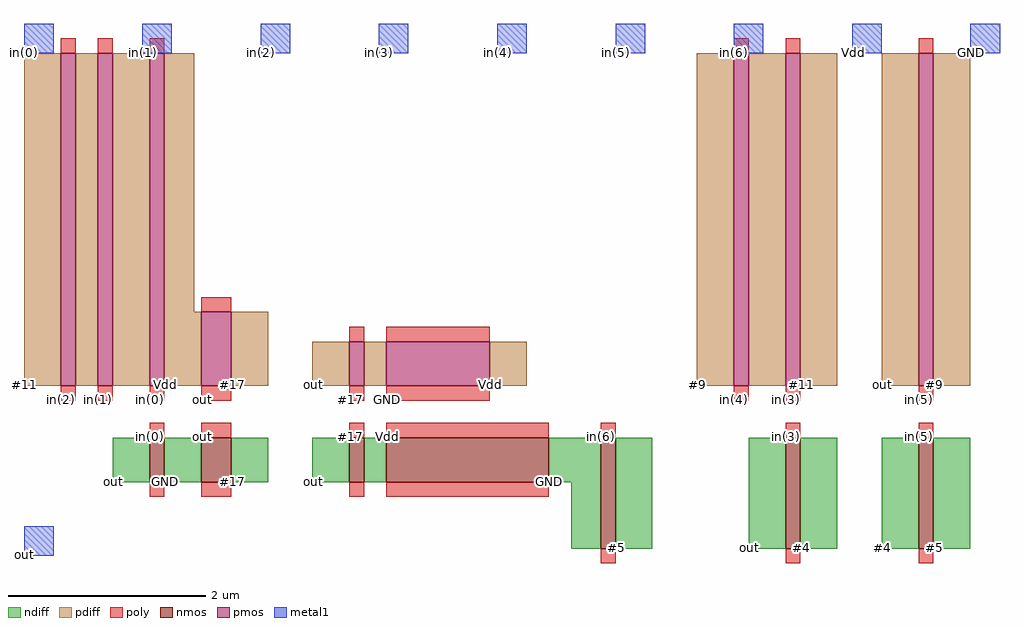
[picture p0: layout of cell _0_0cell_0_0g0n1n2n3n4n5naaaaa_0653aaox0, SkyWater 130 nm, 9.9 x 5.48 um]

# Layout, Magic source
magic
tech sky130A
magscale 1 2
<< nmos >>
rect 375 210 405 300
rect 480 210 540 300
rect 780 210 810 300
rect 855 210 1185 300
rect 1290 75 1320 300
rect 1665 75 1695 300
rect 1935 75 1965 300
<< pmos >>
rect 195 405 225 1080
rect 270 405 300 1080
rect 375 405 405 1080
rect 480 405 540 555
rect 780 405 810 495
rect 855 405 1065 495
rect 1560 405 1590 1080
rect 1665 405 1695 1080
rect 1935 405 1965 1080
<< ndiff >>
rect 300 210 375 300
rect 405 210 480 300
rect 540 210 615 300
rect 705 210 780 300
rect 810 210 855 300
rect 1185 210 1290 300
rect 1230 75 1290 210
rect 1320 75 1395 300
rect 1590 75 1665 300
rect 1695 75 1770 300
rect 1860 75 1935 300
rect 1965 75 2040 300
<< pdiff >>
rect 120 405 195 1080
rect 225 405 270 1080
rect 300 405 375 1080
rect 405 555 465 1080
rect 405 405 480 555
rect 540 405 615 555
rect 705 405 780 495
rect 810 405 855 495
rect 1065 405 1140 495
rect 1485 405 1560 1080
rect 1590 405 1665 1080
rect 1695 405 1770 1080
rect 1860 405 1935 1080
rect 1965 405 2040 1080
<< poly >>
rect 195 1080 225 1110
rect 270 1080 300 1110
rect 375 1080 405 1110
rect 1560 1080 1590 1110
rect 1665 1080 1695 1110
rect 1935 1080 1965 1110
rect 480 555 540 585
rect 780 495 810 525
rect 855 495 1065 525
rect 195 375 225 405
rect 270 375 300 405
rect 375 375 405 405
rect 480 375 540 405
rect 780 375 810 405
rect 855 375 1065 405
rect 1560 375 1590 405
rect 1665 375 1695 405
rect 1935 375 1965 405
rect 375 300 405 330
rect 480 300 540 330
rect 780 300 810 330
rect 855 300 1185 330
rect 1290 300 1320 330
rect 1665 300 1695 330
rect 1935 300 1965 330
rect 375 180 405 210
rect 480 180 540 210
rect 780 180 810 210
rect 855 180 1185 210
rect 1290 45 1320 75
rect 1665 45 1695 75
rect 1935 45 1965 75
<< metal1 >>
rect 120 1080 180 1140
rect 360 1080 420 1140
rect 600 1080 660 1140
rect 840 1080 900 1140
rect 1080 1080 1140 1140
rect 1320 1080 1380 1140
rect 1560 1080 1620 1140
rect 1800 1080 1860 1140
rect 2040 1080 2100 1140
rect 120 60 180 120
<< labels >>
rlabel pdiff 542 407 542 407 3 #17
rlabel poly 482 377 482 377 3 out
rlabel ndiff 542 212 542 212 3 #17
rlabel pdiff 407 407 407 407 3 Vdd
rlabel poly 482 302 482 302 3 out
rlabel poly 377 377 377 377 3 in(0)
rlabel ndiff 407 212 407 212 3 GND
rlabel poly 377 302 377 302 3 in(0)
rlabel poly 272 377 272 377 3 in(1)
rlabel ndiff 302 212 302 212 3 out
rlabel poly 197 377 197 377 3 in(2)
rlabel pdiff 122 407 122 407 3 #11
rlabel poly 1292 302 1292 302 3 in(6)
rlabel ndiff 1322 77 1322 77 3 #5
rlabel ndiff 1187 212 1187 212 3 GND
rlabel pdiff 1067 407 1067 407 3 Vdd
rlabel poly 857 302 857 302 3 Vdd
rlabel poly 857 377 857 377 3 GND
rlabel poly 782 302 782 302 3 #17
rlabel poly 782 377 782 377 3 #17
rlabel ndiff 707 212 707 212 3 out
rlabel pdiff 707 407 707 407 3 out
rlabel ndiff 1697 77 1697 77 3 #4
rlabel pdiff 1697 407 1697 407 3 #11
rlabel poly 1667 302 1667 302 3 in(3)
rlabel poly 1667 377 1667 377 3 in(3)
rlabel ndiff 1592 77 1592 77 3 out
rlabel poly 1562 377 1562 377 3 in(4)
rlabel pdiff 1487 407 1487 407 3 #9
rlabel ndiff 1967 77 1967 77 3 #5
rlabel pdiff 1967 407 1967 407 3 #9
rlabel poly 1937 302 1937 302 3 in(5)
rlabel poly 1937 377 1937 377 3 in(5)
rlabel ndiff 1862 77 1862 77 3 #4
rlabel pdiff 1862 407 1862 407 3 out
rlabel metal1 2042 1082 2042 1082 3 GND
port 1 e
rlabel metal1 1802 1082 1802 1082 3 Vdd
port 2 e
rlabel metal1 1562 1082 1562 1082 3 in(6)
port 3 e
rlabel metal1 1322 1082 1322 1082 3 in(5)
port 4 e
rlabel metal1 1082 1082 1082 1082 3 in(4)
port 5 e
rlabel metal1 842 1082 842 1082 3 in(3)
port 6 e
rlabel metal1 602 1082 602 1082 3 in(2)
port 7 e
rlabel metal1 362 1082 362 1082 3 in(1)
port 8 e
rlabel metal1 122 62 122 62 3 out
port 9 e
rlabel metal1 122 1082 122 1082 3 in(0)
port 10 e
<< end >>
